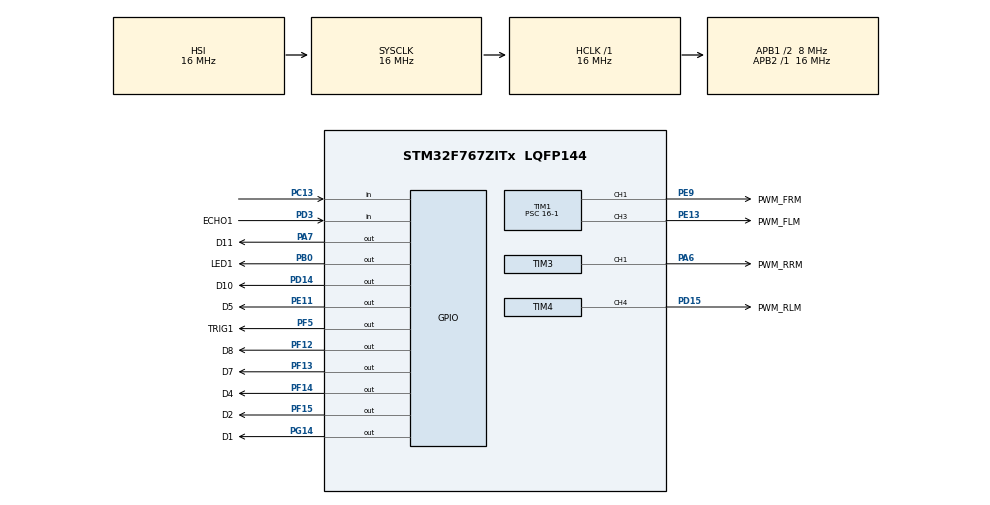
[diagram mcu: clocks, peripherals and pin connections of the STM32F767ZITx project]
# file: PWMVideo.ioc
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Mcu.Family=STM32F7
Mcu.Name=STM32F767ZITx
Mcu.Package=LQFP144
NVIC.PriorityGroup=NVIC_PRIORITYGROUP_4
PA13.Mode=Serial_Wire
PA13.Signal=SYS_JTMS-SWDIO
PA14.Mode=Serial_Wire
PA14.Signal=SYS_JTCK-SWCLK
PA6.GPIO_Label=PWM_RRM
PA6.Signal=S_TIM3_CH1
PA7.GPIO_Label=D11
PA7.Signal=GPIO_Output
PB0.GPIO_Label=LED1
PB0.Signal=GPIO_Output
PC13.Signal=GPIO_Input
PD14.GPIO_Label=D10
PD14.Signal=GPIO_Output
PD15.GPIO_Label=PWM_RLM
PD15.Signal=S_TIM4_CH4
PD3.GPIO_Label=ECHO1
PD3.Signal=GPIO_Input
PE11.GPIO_Label=D5
PE11.Signal=GPIO_Output
PE13.GPIO_Label=PWM_FLM
PE13.Signal=S_TIM1_CH3
PE9.GPIO_Label=PWM_FRM
PE9.Signal=S_TIM1_CH1
PF12.GPIO_Label=D8
PF12.Signal=GPIO_Output
PF13.GPIO_Label=D7
PF13.Signal=GPIO_Output
PF14.GPIO_Label=D4
PF14.Signal=GPIO_Output
PF15.GPIO_Label=D2
PF15.Signal=GPIO_Output
PF5.GPIO_Label=TRIG1
PF5.Signal=GPIO_Output
PG14.GPIO_Label=D1
PG14.Signal=GPIO_Output
ProjectManager.HeapSize=0x200
ProjectManager.StackSize=0x400
ProjectManager.TargetToolchain=STM32CubeIDE
RCC.48MHZClocksFreq_Value=24000000
RCC.AHBFreq_Value=16000000
RCC.APB1CLKDivider=RCC_HCLK_DIV2
RCC.APB1Freq_Value=8000000
RCC.APB1TimFreq_Value=16000000
RCC.APB2Freq_Value=16000000
RCC.APB2TimFreq_Value=16000000
RCC.CortexFreq_Value=16000000
RCC.HCLKFreq_Value=16000000
RCC.HSE_VALUE=8000000
RCC.HSI_VALUE=16000000
RCC.LSE_VALUE=32768
RCC.PLLM=8
RCC.PLLMUL=RCC_PLL_MUL9
RCC.PLLN=96
RCC.PLLQ=4
RCC.PRESCALERUSB=RCC_USBCLKSOURCE_PLL_DIV1_5
RCC.SYSCLKFreq_VALUE=16000000
RCC.SYSCLKSourceVirtual=RCC_SYSCLKSOURCE_PLLCLK
RCC.USBFreq_Value=48000000
RCC.VCOOutputFreq_Value=192000000
SH.S_TIM1_CH1.0=TIM1_CH1,PWM Generation1 CH1
SH.S_TIM1_CH3.0=TIM1_CH3,PWM Generation3 CH3
SH.S_TIM3_CH1.0=TIM3_CH1,PWM Generation1 CH1
SH.S_TIM4_CH4.0=TIM4_CH4,PWM Generation4 CH4
TIM1.Channel-PWM\ Generation1\ CH1=TIM_CHANNEL_1
TIM1.Channel-PWM\ Generation3\ CH3=TIM_CHANNEL_3
TIM1.Period=100
TIM1.Prescaler=16-1
TIM1.Pulse-PWM\ Generation1\ CH1=100
TIM1.Pulse-PWM\ Generation3\ CH3=100
TIM2.Prescaler=16-1
TIM3.Channel-PWM\ Generation1\ CH1=TIM_CHANNEL_1
TIM3.Period=100
TIM3.Prescaler=16-1
TIM3.Pulse-PWM\ Generation1\ CH1=100
TIM4.Channel-PWM\ Generation4\ CH4=TIM_CHANNEL_4
TIM4.Period=100
TIM4.Prescaler=16-1
TIM4.Pulse-PWM\ Generation4\ CH4=100
VP_TIM1_VS_ClockSourceINT.Mode=Internal
VP_TIM2_VS_ClockSourceINT.Mode=Internal
board=NUCLEO-F767ZI

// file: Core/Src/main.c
/* USER CODE BEGIN Header */
/**
  ******************************************************************************
  * @file           : main.c
  * @brief          : Main program body
  ******************************************************************************
  * @attention
  *
  * Copyright (c) 2022 STMicroelectronics.
  * All rights reserved.
  *
  * This software is licensed under terms that can be found in the LICENSE file
  * in the root directory of this software component.
  * If no LICENSE file comes with this software, it is provided AS-IS.
  *
  ******************************************************************************
  */
/* USER CODE END Header */
#include "main.h"

/* USER CODE BEGIN PTD */
#define usTIM	TIM2
/* USER CODE END PTD */

TIM_HandleTypeDef htim1;
TIM_HandleTypeDef htim2;
TIM_HandleTypeDef htim3;
TIM_HandleTypeDef htim4;

/* USER CODE BEGIN PV */
void usDelay(uint32_t uSec);
/* USER CODE END PV */

void SystemClock_Config(void);
static void MX_GPIO_Init(void);
static void MX_TIM1_Init(void);
static void MX_TIM3_Init(void);
static void MX_TIM4_Init(void);
static void MX_TIM2_Init(void);

/* USER CODE BEGIN 0 */
//Speed of sound in cm/usec
const float speedOfSound = 0.0343/2;
float distance;
const float DISTANCE_THRESHOLD = 20;
char uartBuf[100];
/* USER CODE END 0 */

int main(void)
{
  /* USER CODE BEGIN 1 */
	GPIO_PinState mypushButton;
	uint32_t numTicks = 0;
  /* USER CODE END 1 */

  /* MCU Configuration--------------------------------------------------------*/

  /* Reset of all peripherals, Initializes the Flash interface and the Systick. */
  HAL_Init();

  /* Configure the system clock */
  SystemClock_Config();

  /* Initialize all configured peripherals */
  MX_GPIO_Init();
  MX_TIM1_Init();
  MX_TIM3_Init();
  MX_TIM4_Init();
  MX_TIM2_Init();
  /* USER CODE BEGIN 2 */
	//FRM PWM Start
	HAL_TIM_PWM_Start(&htim1, TIM_CHANNEL_1);
	//FLM PWM Start
	HAL_TIM_PWM_Start(&htim1, TIM_CHANNEL_3);
	//RRM PWM Start
	HAL_TIM_PWM_Start(&htim3, TIM_CHANNEL_1);
	//RLM PWM Start
	HAL_TIM_PWM_Start(&htim4, TIM_CHANNEL_4);
  /* USER CODE END 2 */

  /* Infinite loop */
  while (1)
  {

    /* USER CODE BEGIN 3 */

		mypushButton = HAL_GPIO_ReadPin(GPIOC, GPIO_PIN_13);

		//Set TRIG to LOW for few uSec
		HAL_GPIO_WritePin(TRIG1_GPIO_Port, TRIG1_Pin, GPIO_PIN_RESET);
		usDelay(3);
		//*** START Ultrasonic measure routine ***//
		//1. Output 10 usec TRIG
		HAL_GPIO_WritePin(TRIG1_GPIO_Port, TRIG1_Pin, GPIO_PIN_SET);
		usDelay(10);
		HAL_GPIO_WritePin(TRIG1_GPIO_Port, TRIG1_Pin, GPIO_PIN_RESET);
		//2. Wait for ECHO pin rising edge
		while(HAL_GPIO_ReadPin(ECHO1_GPIO_Port, ECHO1_Pin) == GPIO_PIN_RESET);
		//3. Start measuring ECHO pulse width in usec
		numTicks = 0;
		while(HAL_GPIO_ReadPin(ECHO1_GPIO_Port, ECHO1_Pin) == GPIO_PIN_SET)
		{
			numTicks++;
			usDelay(2); //2.8usec
		};
		//4. Estimate distance in cm
		distance = (numTicks + 0.0f)*2.8*speedOfSound;
		//5. Print to UART terminal for debugging
		//sprintf(uartBuf, "Distance (cm)  = %.1f\r\n", distance);
		//HAL_UART_Transmit(&huart2, (uint8_t *)uartBuf, strlen(uartBuf), 100);
		if(distance < DISTANCE_THRESHOLD)
		{
		HAL_GPIO_WritePin(LED1_GPIO_Port, LED1_Pin, 1); // turn on LED
		//FRM
		htim1.Instance->CCR1 = 0;
		HAL_GPIO_WritePin(D4_GPIO_Port, D4_Pin, 0);
	    HAL_GPIO_WritePin(D5_GPIO_Port,D5_Pin, 1);
		//FLM
		htim1.Instance->CCR3 = 0;
		HAL_GPIO_WritePin(D1_GPIO_Port, D1_Pin, 0);
	    HAL_GPIO_WritePin(D2_GPIO_Port,D2_Pin, 1);
		//RRM
		htim3.Instance->CCR1 = 0;
		HAL_GPIO_WritePin(D10_GPIO_Port, D10_Pin, 0);
	    HAL_GPIO_WritePin(D11_GPIO_Port,D11_Pin, 1);
		//RLM
		htim4.Instance->CCR4 = 0;
		HAL_GPIO_WritePin(D7_GPIO_Port, D7_Pin, 0);
	    HAL_GPIO_WritePin(D8_GPIO_Port,D8_Pin, 1);
		}
		else
		{
    HAL_GPIO_WritePin(LED1_GPIO_Port, LED1_Pin, 0);  // turn off LED
		//FRM
		htim1.Instance->CCR1 = 50;
		HAL_GPIO_WritePin(D4_GPIO_Port, D4_Pin, 0);
	  HAL_GPIO_WritePin(D5_GPIO_Port,D5_Pin, 1);
		//FLM
		htim1.Instance->CCR3 = 50;
		HAL_GPIO_WritePin(D1_GPIO_Port, D1_Pin, 0);
	  HAL_GPIO_WritePin(D2_GPIO_Port,D2_Pin, 1);
		//RRM
		htim3.Instance->CCR1 = 50;
		HAL_GPIO_WritePin(D10_GPIO_Port, D10_Pin, 0);
	  HAL_GPIO_WritePin(D11_GPIO_Port,D11_Pin, 1);
		//
		htim4.Instance->CCR4 = 50;
		HAL_GPIO_WritePin(D7_GPIO_Port, D7_Pin, 0);
	  HAL_GPIO_WritePin(D8_GPIO_Port,D8_Pin, 1);
		}
  }
  /* USER CODE END 3 */
}

void SystemClock_Config(void)
{
  RCC_OscInitTypeDef RCC_OscInitStruct = {0};
  RCC_ClkInitTypeDef RCC_ClkInitStruct = {0};

  /** Configure the main internal regulator output voltage
  */
  __HAL_RCC_PWR_CLK_ENABLE();
  __HAL_PWR_VOLTAGESCALING_CONFIG(PWR_REGULATOR_VOLTAGE_SCALE3);

  /** Initializes the RCC Oscillators according to the specified parameters
  * in the RCC_OscInitTypeDef structure.
  */
  RCC_OscInitStruct.OscillatorType = RCC_OSCILLATORTYPE_HSI;
  RCC_OscInitStruct.HSIState = RCC_HSI_ON;
  RCC_OscInitStruct.HSICalibrationValue = RCC_HSICALIBRATION_DEFAULT;
  RCC_OscInitStruct.PLL.PLLState = RCC_PLL_NONE;
  if (HAL_RCC_OscConfig(&RCC_OscInitStruct) != HAL_OK)
  {
    Error_Handler();
  }

  /** Initializes the CPU, AHB and APB buses clocks
  */
  RCC_ClkInitStruct.ClockType = RCC_CLOCKTYPE_HCLK|RCC_CLOCKTYPE_SYSCLK
                              |RCC_CLOCKTYPE_PCLK1|RCC_CLOCKTYPE_PCLK2;
  RCC_ClkInitStruct.SYSCLKSource = RCC_SYSCLKSOURCE_HSI;
  RCC_ClkInitStruct.AHBCLKDivider = RCC_SYSCLK_DIV1;
  RCC_ClkInitStruct.APB1CLKDivider = RCC_HCLK_DIV2;
  RCC_ClkInitStruct.APB2CLKDivider = RCC_HCLK_DIV1;

  if (HAL_RCC_ClockConfig(&RCC_ClkInitStruct, FLASH_LATENCY_0) != HAL_OK)
  {
    Error_Handler();
  }
}

static void MX_TIM1_Init(void)
{

  TIM_ClockConfigTypeDef sClockSourceConfig = {0};
  TIM_MasterConfigTypeDef sMasterConfig = {0};
  TIM_OC_InitTypeDef sConfigOC = {0};
  TIM_BreakDeadTimeConfigTypeDef sBreakDeadTimeConfig = {0};

  htim1.Instance = TIM1;
  htim1.Init.Prescaler = 16-1;
  htim1.Init.CounterMode = TIM_COUNTERMODE_UP;
  htim1.Init.Period = 100;
  htim1.Init.ClockDivision = TIM_CLOCKDIVISION_DIV1;
  htim1.Init.RepetitionCounter = 0;
  htim1.Init.AutoReloadPreload = TIM_AUTORELOAD_PRELOAD_DISABLE;
  if (HAL_TIM_Base_Init(&htim1) != HAL_OK)
  {
    Error_Handler();
  }
  sClockSourceConfig.ClockSource = TIM_CLOCKSOURCE_INTERNAL;
  if (HAL_TIM_ConfigClockSource(&htim1, &sClockSourceConfig) != HAL_OK)
  {
    Error_Handler();
  }
  if (HAL_TIM_PWM_Init(&htim1) != HAL_OK)
  {
    Error_Handler();
  }
  sMasterConfig.MasterOutputTrigger = TIM_TRGO_RESET;
  sMasterConfig.MasterOutputTrigger2 = TIM_TRGO2_RESET;
  sMasterConfig.MasterSlaveMode = TIM_MASTERSLAVEMODE_DISABLE;
  if (HAL_TIMEx_MasterConfigSynchronization(&htim1, &sMasterConfig) != HAL_OK)
  {
    Error_Handler();
  }
  sConfigOC.OCMode = TIM_OCMODE_PWM1;
  sConfigOC.Pulse = 100;
  sConfigOC.OCPolarity = TIM_OCPOLARITY_HIGH;
  sConfigOC.OCNPolarity = TIM_OCNPOLARITY_HIGH;
  sConfigOC.OCFastMode = TIM_OCFAST_DISABLE;
  sConfigOC.OCIdleState = TIM_OCIDLESTATE_RESET;
  sConfigOC.OCNIdleState = TIM_OCNIDLESTATE_RESET;
  if (HAL_TIM_PWM_ConfigChannel(&htim1, &sConfigOC, TIM_CHANNEL_1) != HAL_OK)
  {
    Error_Handler();
  }
  if (HAL_TIM_PWM_ConfigChannel(&htim1, &sConfigOC, TIM_CHANNEL_3) != HAL_OK)
  {
    Error_Handler();
  }
  sBreakDeadTimeConfig.OffStateRunMode = TIM_OSSR_DISABLE;
  sBreakDeadTimeConfig.OffStateIDLEMode = TIM_OSSI_DISABLE;
  sBreakDeadTimeConfig.LockLevel = TIM_LOCKLEVEL_OFF;
  sBreakDeadTimeConfig.DeadTime = 0;
  sBreakDeadTimeConfig.BreakState = TIM_BREAK_DISABLE;
  sBreakDeadTimeConfig.BreakPolarity = TIM_BREAKPOLARITY_HIGH;
  sBreakDeadTimeConfig.BreakFilter = 0;
  sBreakDeadTimeConfig.Break2State = TIM_BREAK2_DISABLE;
  sBreakDeadTimeConfig.Break2Polarity = TIM_BREAK2POLARITY_HIGH;
  sBreakDeadTimeConfig.Break2Filter = 0;
  sBreakDeadTimeConfig.AutomaticOutput = TIM_AUTOMATICOUTPUT_DISABLE;
  if (HAL_TIMEx_ConfigBreakDeadTime(&htim1, &sBreakDeadTimeConfig) != HAL_OK)
  {
    Error_Handler();
  }
  HAL_TIM_MspPostInit(&htim1);

}

static void MX_TIM2_Init(void)
{

  TIM_ClockConfigTypeDef sClockSourceConfig = {0};
  TIM_MasterConfigTypeDef sMasterConfig = {0};

  htim2.Instance = TIM2;
  htim2.Init.Prescaler = 16-1;
  htim2.Init.CounterMode = TIM_COUNTERMODE_UP;
  htim2.Init.Period = 4294967295;
  htim2.Init.ClockDivision = TIM_CLOCKDIVISION_DIV1;
  htim2.Init.AutoReloadPreload = TIM_AUTORELOAD_PRELOAD_DISABLE;
  if (HAL_TIM_Base_Init(&htim2) != HAL_OK)
  {
    Error_Handler();
  }
  sClockSourceConfig.ClockSource = TIM_CLOCKSOURCE_INTERNAL;
  if (HAL_TIM_ConfigClockSource(&htim2, &sClockSourceConfig) != HAL_OK)
  {
    Error_Handler();
  }
  sMasterConfig.MasterOutputTrigger = TIM_TRGO_RESET;
  sMasterConfig.MasterSlaveMode = TIM_MASTERSLAVEMODE_DISABLE;
  if (HAL_TIMEx_MasterConfigSynchronization(&htim2, &sMasterConfig) != HAL_OK)
  {
    Error_Handler();
  }

}

static void MX_TIM3_Init(void)
{

  TIM_MasterConfigTypeDef sMasterConfig = {0};
  TIM_OC_InitTypeDef sConfigOC = {0};

  htim3.Instance = TIM3;
  htim3.Init.Prescaler = 16-1;
  htim3.Init.CounterMode = TIM_COUNTERMODE_UP;
  htim3.Init.Period = 100;
  htim3.Init.ClockDivision = TIM_CLOCKDIVISION_DIV1;
  htim3.Init.AutoReloadPreload = TIM_AUTORELOAD_PRELOAD_DISABLE;
  if (HAL_TIM_PWM_Init(&htim3) != HAL_OK)
  {
    Error_Handler();
  }
  sMasterConfig.MasterOutputTrigger = TIM_TRGO_RESET;
  sMasterConfig.MasterSlaveMode = TIM_MASTERSLAVEMODE_DISABLE;
  if (HAL_TIMEx_MasterConfigSynchronization(&htim3, &sMasterConfig) != HAL_OK)
  {
    Error_Handler();
  }
  sConfigOC.OCMode = TIM_OCMODE_PWM1;
  sConfigOC.Pulse = 100;
  sConfigOC.OCPolarity = TIM_OCPOLARITY_HIGH;
  sConfigOC.OCFastMode = TIM_OCFAST_DISABLE;
  if (HAL_TIM_PWM_ConfigChannel(&htim3, &sConfigOC, TIM_CHANNEL_1) != HAL_OK)
  {
    Error_Handler();
  }
  HAL_TIM_MspPostInit(&htim3);

}

static void MX_TIM4_Init(void)
{

  TIM_MasterConfigTypeDef sMasterConfig = {0};
  TIM_OC_InitTypeDef sConfigOC = {0};

  htim4.Instance = TIM4;
  htim4.Init.Prescaler = 16-1;
  htim4.Init.CounterMode = TIM_COUNTERMODE_UP;
  htim4.Init.Period = 100;
  htim4.Init.ClockDivision = TIM_CLOCKDIVISION_DIV1;
  htim4.Init.AutoReloadPreload = TIM_AUTORELOAD_PRELOAD_DISABLE;
  if (HAL_TIM_PWM_Init(&htim4) != HAL_OK)
  {
    Error_Handler();
  }
  sMasterConfig.MasterOutputTrigger = TIM_TRGO_RESET;
  sMasterConfig.MasterSlaveMode = TIM_MASTERSLAVEMODE_DISABLE;
  if (HAL_TIMEx_MasterConfigSynchronization(&htim4, &sMasterConfig) != HAL_OK)
  {
    Error_Handler();
  }
  sConfigOC.OCMode = TIM_OCMODE_PWM1;
  sConfigOC.Pulse = 100;
  sConfigOC.OCPolarity = TIM_OCPOLARITY_HIGH;
  sConfigOC.OCFastMode = TIM_OCFAST_DISABLE;
  if (HAL_TIM_PWM_ConfigChannel(&htim4, &sConfigOC, TIM_CHANNEL_4) != HAL_OK)
  {
    Error_Handler();
  }
  HAL_TIM_MspPostInit(&htim4);

}

static void MX_GPIO_Init(void)
{
  GPIO_InitTypeDef GPIO_InitStruct = {0};

  /* GPIO Ports Clock Enable */
  __HAL_RCC_GPIOC_CLK_ENABLE();
  __HAL_RCC_GPIOF_CLK_ENABLE();
  __HAL_RCC_GPIOA_CLK_ENABLE();
  __HAL_RCC_GPIOB_CLK_ENABLE();
  __HAL_RCC_GPIOE_CLK_ENABLE();
  __HAL_RCC_GPIOD_CLK_ENABLE();
  __HAL_RCC_GPIOG_CLK_ENABLE();

  /*Configure GPIO pin Output Level */
  HAL_GPIO_WritePin(GPIOF, TRIG1_Pin|D8_Pin|D7_Pin|D4_Pin
                          |D2_Pin, GPIO_PIN_RESET);

  /*Configure GPIO pin Output Level */
  HAL_GPIO_WritePin(D11_GPIO_Port, D11_Pin, GPIO_PIN_RESET);

  /*Configure GPIO pin Output Level */
  HAL_GPIO_WritePin(LED1_GPIO_Port, LED1_Pin, GPIO_PIN_RESET);

  /*Configure GPIO pin Output Level */
  HAL_GPIO_WritePin(D5_GPIO_Port, D5_Pin, GPIO_PIN_RESET);

  /*Configure GPIO pin Output Level */
  HAL_GPIO_WritePin(D10_GPIO_Port, D10_Pin, GPIO_PIN_RESET);

  /*Configure GPIO pin Output Level */
  HAL_GPIO_WritePin(D1_GPIO_Port, D1_Pin, GPIO_PIN_RESET);

  /*Configure GPIO pin : PC13 */
  GPIO_InitStruct.Pin = GPIO_PIN_13;
  GPIO_InitStruct.Mode = GPIO_MODE_INPUT;
  GPIO_InitStruct.Pull = GPIO_NOPULL;
  HAL_GPIO_Init(GPIOC, &GPIO_InitStruct);

  /*Configure GPIO pins : TRIG1_Pin D8_Pin D7_Pin D4_Pin
                           D2_Pin */
  GPIO_InitStruct.Pin = TRIG1_Pin|D8_Pin|D7_Pin|D4_Pin
                          |D2_Pin;
  GPIO_InitStruct.Mode = GPIO_MODE_OUTPUT_PP;
  GPIO_InitStruct.Pull = GPIO_NOPULL;
  GPIO_InitStruct.Speed = GPIO_SPEED_FREQ_LOW;
  HAL_GPIO_Init(GPIOF, &GPIO_InitStruct);

  /*Configure GPIO pin : D11_Pin */
  GPIO_InitStruct.Pin = D11_Pin;
  GPIO_InitStruct.Mode = GPIO_MODE_OUTPUT_PP;
  GPIO_InitStruct.Pull = GPIO_NOPULL;
  GPIO_InitStruct.Speed = GPIO_SPEED_FREQ_LOW;
  HAL_GPIO_Init(D11_GPIO_Port, &GPIO_InitStruct);

  /*Configure GPIO pin : LED1_Pin */
  GPIO_InitStruct.Pin = LED1_Pin;
  GPIO_InitStruct.Mode = GPIO_MODE_OUTPUT_PP;
  GPIO_InitStruct.Pull = GPIO_NOPULL;
  GPIO_InitStruct.Speed = GPIO_SPEED_FREQ_LOW;
  HAL_GPIO_Init(LED1_GPIO_Port, &GPIO_InitStruct);

  /*Configure GPIO pin : D5_Pin */
  GPIO_InitStruct.Pin = D5_Pin;
  GPIO_InitStruct.Mode = GPIO_MODE_OUTPUT_PP;
  GPIO_InitStruct.Pull = GPIO_NOPULL;
  GPIO_InitStruct.Speed = GPIO_SPEED_FREQ_LOW;
  HAL_GPIO_Init(D5_GPIO_Port, &GPIO_InitStruct);

  /*Configure GPIO pin : D10_Pin */
  GPIO_InitStruct.Pin = D10_Pin;
  GPIO_InitStruct.Mode = GPIO_MODE_OUTPUT_PP;
  GPIO_InitStruct.Pull = GPIO_NOPULL;
  GPIO_InitStruct.Speed = GPIO_SPEED_FREQ_LOW;
  HAL_GPIO_Init(D10_GPIO_Port, &GPIO_InitStruct);

  /*Configure GPIO pin : ECHO1_Pin */
  GPIO_InitStruct.Pin = ECHO1_Pin;
  GPIO_InitStruct.Mode = GPIO_MODE_INPUT;
  GPIO_InitStruct.Pull = GPIO_NOPULL;
  HAL_GPIO_Init(ECHO1_GPIO_Port, &GPIO_InitStruct);

  /*Configure GPIO pin : D1_Pin */
  GPIO_InitStruct.Pin = D1_Pin;
  GPIO_InitStruct.Mode = GPIO_MODE_OUTPUT_PP;
  GPIO_InitStruct.Pull = GPIO_NOPULL;
  GPIO_InitStruct.Speed = GPIO_SPEED_FREQ_LOW;
  HAL_GPIO_Init(D1_GPIO_Port, &GPIO_InitStruct);

}

/* USER CODE BEGIN 4 */
 void usDelay(uint32_t uSec)
{
	if(uSec < 2) uSec = 2;
	usTIM->ARR = uSec - 1; 	/*sets the value in the auto-reload register*/
	usTIM->EGR = 1; 			/*Re-initialises the timer*/
	usTIM->SR &= ~1; 		//Resets the flag
	usTIM->CR1 |= 1; 		//Enables the counter
	while((usTIM->SR&0x0001) != 1);
	usTIM->SR &= ~(0x0001);
}

/* USER CODE END 4 */

void Error_Handler(void)
{
  __disable_irq();
  while (1)
  {
  }
}
